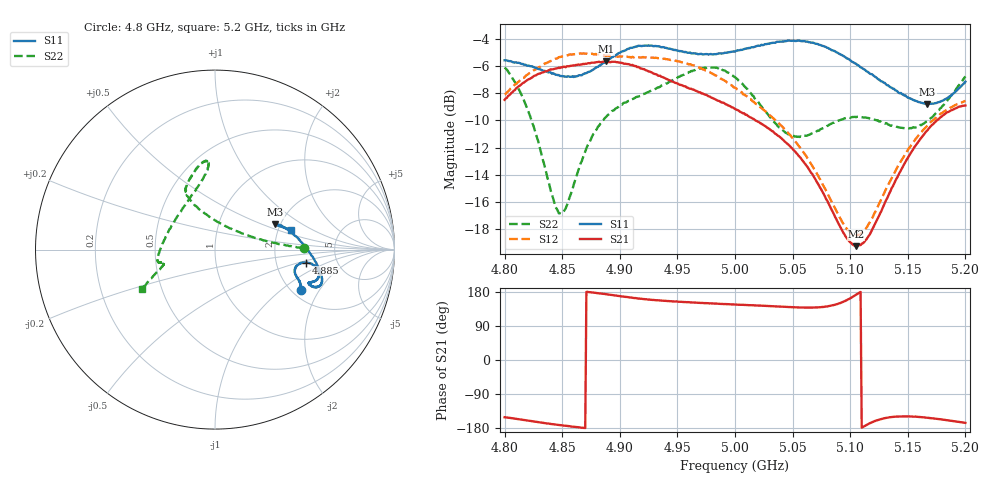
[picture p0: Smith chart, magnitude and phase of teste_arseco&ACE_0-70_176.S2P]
! Network Analyzer HP8722D
! Hewlett-Packard
! Data name: Linha & Wilkinson
! Saver's name: Rodrigo Anjos
! Comments: Teste da utilização de aquisição
! continua pelo VNA HP8722D
! Time and date: 8/5/2025 14:13
!  Frequency  S11  S21  S12  S22
# HZ  S  MA R 50
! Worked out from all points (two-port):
!   401 points, 4.8 GHz to 5.2 GHz, reference 50 ohm
!   highest |S21| = -5.65 dB at 4.888 GHz (marker M1); lowest = -19.3 dB at 5.105 GHz (marker M2)
!   |S21| within 3 dB of the highest: start of sweep to 4.988 GHz
!   lowest |S11| = -8.8 dB at 5.167 GHz (marker M3), VSWR 2.14, Z = 94 + j30.5 ohm
!   |S11| at or under -10 dB: nowhere
!   |S22| runs from -16.9 to -6.1 dB; largest |S21 - S12| = 1.1
!   S11 on the Smith chart (normalised r, x): 4.8 GHz: 2.23, -1.39; 4.885 GHz: 2.98, -0.58; 5.2 GHz: 2.36, +0.64
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4.8e9  0.5271 -25.2  0.3767 -151.0  0.3946 8.1  0.4955 0.9
4.82e9  0.503 -20.8  0.4464 -159.6  0.4671 5.2  0.3463 5.7
4.842e9  0.4724 -17.3  0.4883 -169.4  0.5284 2.0  0.1636 37.7
4.847e9  0.4649 -16.2  0.4951 -171.4  0.5409 0.9  0.1437 56.1
4.853e9  0.4589 -14.7  0.4968 -173.6  0.5481 -0.0  0.1498 79.4
4.867e9  0.4642 -10.9  0.5088 -178.7  0.5571 -2.1  0.2237 108.8
4.885e9  0.5132 -8.1  0.5201 174.9  0.5504 -3.1  0.3147 116.6
4.888e9  0.5226 -8.1  0.522 173.5  0.5461 -3.2  0.3255 117.1
4.911e9  0.586 -11.2  0.5067 164.3  0.543 -2.5  0.379 115.4
4.934e9  0.5937 -16.5  0.4615 157.3  0.5368 -3.4  0.4189 109.2
4.976e9  0.5553 -19.6  0.3907 150.0  0.4803 -7.1  0.4967 96.3
5e9  0.5682 -20.5  0.3485 146.3  0.4178 -6.8  0.4565 95.2
5.044e9  0.6199 -18.5  0.2625 140.2  0.2904 1.6  0.2846 132.1
5.067e9  0.6122 -13.8  0.2008 138.4  0.2156 8.7  0.2833 165.0
5.095e9  0.5436 -4.1  0.1201 154.9  0.1297 35.2  0.3218 -172.4
5.105e9  0.5119 0.6  0.1086 172.0  0.1193 54.4  0.3251 -169.3
5.116e9  0.4749 6.3  0.1185 -168.5  0.1311 75.5  0.3226 -167.2
5.134e9  0.4218 15.2  0.1703 -151.2  0.1865 94.3  0.3041 -166.0
5.151e9  0.3826 21.2  0.2338 -148.9  0.25 99.5  0.2953 -164.6
5.167e9  0.3637 22.8  0.2906 -152.4  0.3028 100.4  0.315 -161.7
5.183e9  0.3794 20.4  0.3358 -158.5  0.3444 100.4  0.3677 -157.4
5.2e9  0.4397 14.5  0.3589 -165.8  0.3734 100.8  0.4596 -151.5
